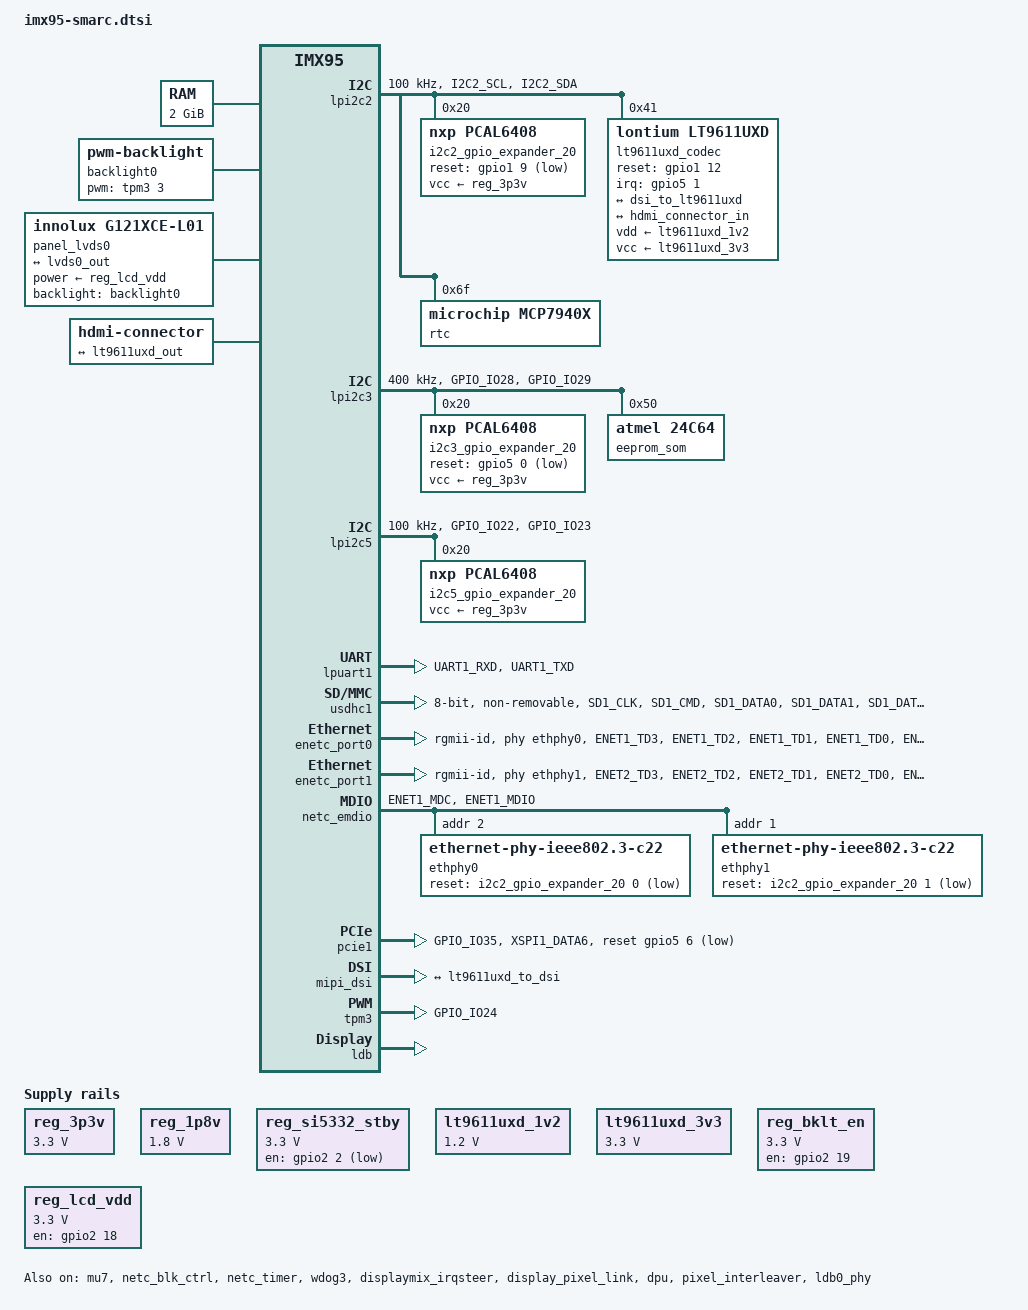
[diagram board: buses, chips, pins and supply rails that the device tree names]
// SPDX-License-Identifier: (GPL-2.0+ OR MIT)
/*
 * Copyright 2026 IEI
 *
 * Common DTSI for IEI i.MX95 SMARC SOM
 */

#include <dt-bindings/pwm/pwm.h>
#include <dt-bindings/phy/phy-imx8-pcie.h>
#include <dt-bindings/usb/pd.h>
#include "imx95.dtsi"

#define FALLING_EDGE		BIT(0)
#define RISING_EDGE		BIT(1)

#define BRD_SM_CTRL_SD3_WAKE		0x8000	/*!< PCAL6408A-0 */
#define BRD_SM_CTRL_PCIE1_WAKE		0x8001	/*!< PCAL6408A-4 */
#define BRD_SM_CTRL_BT_WAKE		0x8002	/*!< PCAL6408A-5 */
#define BRD_SM_CTRL_PCIE2_WAKE		0x8003	/*!< PCAL6408A-6 */
#define BRD_SM_CTRL_BUTTON		0x8004	/*!< PCAL6408A-7 */

/ {
	aliases {
		ethernet0 = &enetc_port0;
		ethernet1 = &enetc_port1;
		mmc0 = &usdhc1;
		serial0 = &lpuart1;
	};

	memory@80000000 {
		device_type = "memory";
		reg = <0x0 0x80000000 0 0x80000000>;
	};

	reserved-memory {
		#address-cells = <2>;
		#size-cells = <2>;
		ranges;

		linux_cma: linux,cma {
			compatible = "shared-dma-pool";
			alloc-ranges = <0 0x80000000 0 0x7f000000>;
			size = <0 0x3c000000>;
			linux,cma-default;
			reusable;
		};

		vpu_boot: vpu_boot@a0000000 {
			reg = <0 0xa0000000 0 0x100000>;
			no-map;
		};

		ele_reserved: ele-reserved@a4120000 {
			compatible = "shared-dma-pool";
			reg = <0 0xa4120000 0 0x100000>;
			no-map;
		};

		vdev0vring0: vdev0vring0@88000000 {
			reg = <0 0x88000000 0 0x8000>;
			no-map;
		};

		vdev0vring1: vdev0vring1@88008000 {
			reg = <0 0x88008000 0 0x8000>;
			no-map;
		};

		vdev1vring0: vdev1vring0@88010000 {
			reg = <0 0x88010000 0 0x8000>;
			no-map;
		};

		vdev1vring1: vdev1vring1@88018000 {
			reg = <0 0x88018000 0 0x8000>;
			no-map;
		};

		rsc_table: rsc-table@88220000 {
			reg = <0 0x88220000 0 0x1000>;
			no-map;
		};

		vdevbuffer: vdevbuffer@88020000 {
			compatible = "shared-dma-pool";
			reg = <0 0x88020000 0 0x100000>;
			no-map;
		};

		neutron_mem: neutron_memory@100000000 {
			compatible = "shared-dma-pool";
			reusable;
			reg = <0x1 0x00000000 0x1 0x00000000>;
		};
	};

	reg_3p3v: regulator-3p3v {
		compatible = "regulator-fixed";
		regulator-max-microvolt = <3300000>;
		regulator-min-microvolt = <3300000>;
		regulator-name = "+V3.3_SW";
	};

	reg_1p8v: regulator-1p8v {
		compatible = "regulator-fixed";
		regulator-max-microvolt = <1800000>;
		regulator-min-microvolt = <1800000>;
		regulator-name = "+V1.8_SW";
	};

	reg_si5332_stby: regulator-si5332-stby {
		compatible = "regulator-fixed";
		regulator-name = "si5332-stby";
		regulator-min-microvolt = <3300000>;
		regulator-max-microvolt = <3300000>;
		gpio = <&gpio2 2 GPIO_ACTIVE_LOW>;
		regulator-always-on;
		pinctrl-names = "default";
		pinctrl-0 = <&pinctrl_si5332>;
	};

	cm7: imx95-cm7 {
		compatible = "fsl,imx95-cm7";
		mbox-names = "tx", "rx", "rxdb";
		mboxes = <&mu7 0 1
			  &mu7 1 1
			  &mu7 3 1>;
		memory-region = <&vdevbuffer>, <&vdev0vring0>, <&vdev0vring1>,
				<&vdev1vring0>, <&vdev1vring1>, <&rsc_table>;
		/* cpuid and lmmid must align with SM firmware */
		fsl,cpu-id = <1>;
		fsl,lmm-id = <1>;
		fsl,startup-delay-ms = <50>;
		status = "okay";
	};

	lt9611uxd_1v2: regulator-lt9611uxd-1v2 {
		compatible = "regulator-fixed";
		regulator-name = "lt9611uxd_1v2";
		regulator-min-microvolt = <1200000>;
		regulator-max-microvolt = <1200000>;
		regulator-always-on;
	};

	lt9611uxd_3v3: regulator-lt9611uxd-3v3 {
		compatible = "regulator-fixed";
		regulator-name = "lt9611uxd_3v3";
		regulator-min-microvolt = <3300000>;
		regulator-max-microvolt = <3300000>;
		regulator-always-on;
	};

	reg_bklt_en: regulator-bklt-en {
		compatible = "regulator-fixed";
		regulator-name = "BKLT_EN";
		regulator-min-microvolt = <3300000>;
		regulator-max-microvolt = <3300000>;
		gpio = <&gpio2 19 GPIO_ACTIVE_HIGH>;
		enable-active-high;
		regulator-always-on;
		pinctrl-names = "default";
		pinctrl-0 = <&pinctrl_lcd_bklt_en>;
	};

	backlight0: backlight-0 {
		compatible = "pwm-backlight";
		pwms = <&tpm3 3 5000000 0>;
		brightness-levels = <0 4 8 16 32 64 128 255>;
		default-brightness-level = <6>;
	};

	reg_lcd_vdd: regulator-lcd-vdd {
		compatible = "regulator-fixed";
		regulator-name = "LCD_VDD";
		regulator-min-microvolt = <3300000>;
		regulator-max-microvolt = <3300000>;
		gpio = <&gpio2 18 GPIO_ACTIVE_HIGH>;
		enable-active-high;
		regulator-always-on;
		pinctrl-names = "default";
		pinctrl-0 = <&pinctrl_lcd_vdd_en>;
	};

	panel_lvds0: panel-lvds0 {
		compatible = "innolux,g121xce-l01";
		backlight = <&backlight0>;
		power-supply = <&reg_lcd_vdd>;

		port {
			panel_lvds0_in: endpoint {
				remote-endpoint = <&lvds0_out>;
			};
		};
	};

	hdmi-connector {
		compatible = "hdmi-connector";
		label = "hdmi";
		type = "a";

		port {
			hdmi_connector_in: endpoint {
				remote-endpoint = <&lt9611uxd_out>;
			};
		};
	};
};

&lpi2c2 {
	clock-frequency = <100000>;
	pinctrl-names = "default";
	pinctrl-0 = <&pinctrl_lpi2c2>;
	status = "okay";

	i2c2_gpio_expander_20: i2c2-gpio-expander@20 {
		compatible = "nxp,pcal6408";
		reg = <0x20>;
		#gpio-cells = <2>;
		gpio-controller;
		vcc-supply = <&reg_3p3v>;
		reset-gpios = <&gpio1 9 GPIO_ACTIVE_LOW>;
		pinctrl-names = "default";
		pinctrl-0 = <&pinctrl_i2c2_pcal6408>;
	};

	lt9611uxd_codec: hdmi-bridge@41 {
		compatible = "lontium,lt9611uxd";
		reg = <0x41>;
		interrupts-extended = <&gpio5 1 IRQ_TYPE_EDGE_FALLING>;
		reset-gpios = <&gpio1 12 GPIO_ACTIVE_HIGH>;
		vdd-supply = <&lt9611uxd_1v2>;
		vcc-supply = <&lt9611uxd_3v3>;

		pinctrl-names = "default";
		pinctrl-0 = <&pinctrl_lt9611uxd>;

		ports {
			#address-cells = <1>;
			#size-cells = <0>;

			port@0 {
				reg = <0>;

				lt9611uxd_to_dsi: endpoint {
					remote-endpoint = <&dsi_to_lt9611uxd>;
					data-lanes = <1 2 3 4>;
				};
			};

			port@2 {
				reg = <2>;

				lt9611uxd_out: endpoint {
					remote-endpoint = <&hdmi_connector_in>;
				};
			};
		};
	};

	rtc@6f {
		compatible = "microchip,mcp7940x";
		reg = <0x6f>;
	};
};

&lpi2c3 {
	clock-frequency = <400000>;
	pinctrl-names = "default";
	pinctrl-0 = <&pinctrl_lpi2c3>;
	status = "okay";

	i2c3_gpio_expander_20: i2c3-gpio-expander@20 {
		compatible = "nxp,pcal6408";
		reg = <0x20>;
		#gpio-cells = <2>;
		gpio-controller;
		vcc-supply = <&reg_3p3v>;
		pinctrl-names = "default";
		pinctrl-0 = <&pinctrl_i2c3_pcal6408>;
		reset-gpios = <&gpio5 0 GPIO_ACTIVE_LOW>;
	};

	eeprom_som: eeprom@50 {
		compatible = "atmel,24c64";
		reg = <0x50>;
		pagesize = <32>;
		read-only;
		status = "okay";
	};
};

&lpi2c5 {
	clock-frequency = <100000>;
	pinctrl-names = "default";
	pinctrl-0 = <&pinctrl_lpi2c5>;
	status = "okay";

	i2c5_gpio_expander_20: i2c5-gpio-expander@20 {
		compatible = "nxp,pcal6408";
		reg = <0x20>;
		#gpio-cells = <2>;
		gpio-controller;
		vcc-supply = <&reg_3p3v>;
	};
};

&lpuart1 {
	/* A55 Debug Console */
	pinctrl-names = "default";
	pinctrl-0 = <&pinctrl_uart1>;
	status = "okay";
};

&mu7 {
	status = "okay";
};

&usdhc1 {
	pinctrl-names = "default", "state_100mhz", "state_200mhz", "sleep";
	pinctrl-0 = <&pinctrl_usdhc1>;
	pinctrl-1 = <&pinctrl_usdhc1_100mhz>;
	pinctrl-2 = <&pinctrl_usdhc1_200mhz>;
	pinctrl-3 = <&pinctrl_usdhc1>;
	bus-width = <8>;
	non-removable;
	no-sdio;
	no-sd;
	status = "okay";
};

&enetc_port0 {
	pinctrl-names = "default";
	pinctrl-0 = <&pinctrl_enetc0>;
	phy-handle = <&ethphy0>;
	phy-mode = "rgmii-id";
	status = "okay";
};

&enetc_port1 {
	pinctrl-names = "default";
	pinctrl-0 = <&pinctrl_enetc1>;
	phy-handle = <&ethphy1>;
	phy-mode = "rgmii-id";
	status = "okay";
};

&ele_if0 {
	memory-region = <&ele_reserved>;
};

&netc_blk_ctrl {
	status = "okay";
};

&netc_timer {
	status = "okay";
};

&netc_emdio {
	pinctrl-names = "default";
	pinctrl-0 = <&pinctrl_emdio>;
	status = "okay";

	ethphy0: ethernet-phy@2 {
		reg = <2>;
		compatible = "ethernet-phy-ieee802.3-c22";
		eee-broken-1000t;
		reset-gpios = <&i2c2_gpio_expander_20 0 GPIO_ACTIVE_LOW>;
		reset-assert-us = <35000>;
		reset-deassert-us = <75000>;
		rx-internal-delay-ps = <1900>;
	};

	ethphy1: ethernet-phy@1 {
		reg = <1>;
		compatible = "ethernet-phy-ieee802.3-c22";
		eee-broken-1000t;
		reset-gpios = <&i2c2_gpio_expander_20 1 GPIO_ACTIVE_LOW>;
		reset-assert-us = <35000>;
		reset-deassert-us = <75000>;
		rx-internal-delay-ps = <1900>;
	};
};

&neutron {
	memory-region = <&neutron_mem>;
};

&pcie1 {
	pinctrl-0 = <&pinctrl_pcie1>;
	pinctrl-names = "default";
	reset-gpio = <&gpio5 6 GPIO_ACTIVE_LOW>;
	status = "okay";
};

&scmi_misc {
	nxp,ctrl-ids = <BRD_SM_CTRL_SD3_WAKE		1
			BRD_SM_CTRL_PCIE1_WAKE		1
			BRD_SM_CTRL_BT_WAKE		1
			BRD_SM_CTRL_PCIE2_WAKE		1
			BRD_SM_CTRL_BUTTON		1>;
};

&wdog3 {
	fsl,ext-reset-output;
	status = "okay";
};

&vpuctrl {
	boot = <&vpu_boot>;
	sram = <&sram1>;
};

&thermal_zones {
	pf09 {
		polling-delay-passive = <250>;
		polling-delay = <2000>;
		thermal-sensors = <&scmi_sensor 2>;
		trips {
			pf09_alert: trip0 {
				temperature = <140000>;
				hysteresis = <2000>;
				type = "passive";
			};

			pf09_crit: trip1 {
				temperature = <155000>;
				hysteresis = <2000>;
				type = "critical";
			};
		};
	};

	pf53_arm {
		polling-delay-passive = <250>;
		polling-delay = <2000>;
		thermal-sensors = <&scmi_sensor 4>;
		trips {
			pf5301_alert: trip0 {
				temperature = <140000>;
				hysteresis = <2000>;
				type = "passive";
			};

			pf5301_crit: trip1 {
				temperature = <155000>;
				hysteresis = <2000>;
				type = "critical";
			};
		};

		cooling-maps {
			map0 {
				trip = <&pf5301_alert>;
				cooling-device =
					<&A55_0 THERMAL_NO_LIMIT THERMAL_NO_LIMIT>,
					<&A55_1 THERMAL_NO_LIMIT THERMAL_NO_LIMIT>,
					<&A55_2 THERMAL_NO_LIMIT THERMAL_NO_LIMIT>,
					<&A55_3 THERMAL_NO_LIMIT THERMAL_NO_LIMIT>,
					<&A55_4 THERMAL_NO_LIMIT THERMAL_NO_LIMIT>,
					<&A55_5 THERMAL_NO_LIMIT THERMAL_NO_LIMIT>;
			};
		};
	};

	pf53_soc {
		polling-delay-passive = <250>;
		polling-delay = <2000>;
		thermal-sensors = <&scmi_sensor 3>;
		trips {
			pf5302_alert: trip0 {
				temperature = <140000>;
				hysteresis = <2000>;
				type = "passive";
			};

			pf5302_crit: trip1 {
				temperature = <155000>;
				hysteresis = <2000>;
				type = "critical";
			};
		};
	};
};

&gpio1 {
	status = "okay";
};

&displaymix_irqsteer {
	status = "okay";
};

&display_pixel_link {
	status = "okay";
};

&dpu {
	assigned-clocks = <&scmi_clk IMX95_CLK_DISP1PIX>,
			  <&scmi_clk IMX95_CLK_VIDEOPLL1_VCO>,
			  <&scmi_clk IMX95_CLK_VIDEOPLL1>;
	assigned-clock-parents = <&scmi_clk IMX95_CLK_VIDEOPLL1>;
	assigned-clock-rates = <0>, <4008000000>, <445333334>;
	status = "okay";
};

&mipi_dsi {
	status = "okay";

	ports {
		#address-cells = <1>;
		#size-cells = <0>;

		port@1 {
			reg = <1>;
			dsi_to_lt9611uxd: endpoint {
				remote-endpoint = <&lt9611uxd_to_dsi>;
			};
		};
	};
};

&pixel_interleaver {
	#address-cells = <1>;
	#size-cells = <0>;
	status = "okay";

	channel@0 {
		reg = <0>;
		status = "okay";
	};

	channel@1 {
		reg = <1>;
		status = "okay";
	};
};

&tpm3 {
	pinctrl-names = "default";
	pinctrl-0 = <&pinctrl_lcd_bklt_pwm>;
	status = "okay";
};

&ldb {
	#address-cells = <1>;
	#size-cells = <0>;
	assigned-clocks = <&scmi_clk IMX95_CLK_LDBPLL_VCO>,
			  <&scmi_clk IMX95_CLK_LDBPLL>;
	assigned-clock-rates = <2730000000>, <455000000>;
	status = "okay";

	channel@0 {
		#address-cells = <1>;
		#size-cells = <0>;
		reg = <0>;
		status = "okay";

		port@1 {
			reg = <1>;

			lvds0_out: endpoint {
				remote-endpoint = <&panel_lvds0_in>;
			};
		};
	};
};

&ldb0_phy {
	status = "okay";
};

&scmi_iomuxc {
	pinctrl_lpi2c2: lpi2c2grp {
		fsl,pins = <
			IMX95_PAD_I2C2_SCL__AONMIX_TOP_LPI2C2_SCL	0x40000b9e
			IMX95_PAD_I2C2_SDA__AONMIX_TOP_LPI2C2_SDA	0x40000b9e
		>;
	};

	pinctrl_lpi2c3: lpi2c3grp {
		fsl,pins = <
			IMX95_PAD_GPIO_IO28__LPI2C3_SDA			0x40000b9e
			IMX95_PAD_GPIO_IO29__LPI2C3_SCL			0x40000b9e
		>;
	};

	pinctrl_lpi2c5: lpi2c5grp {
		fsl,pins = <
			IMX95_PAD_GPIO_IO22__LPI2C5_SDA			0x40000b9e
			IMX95_PAD_GPIO_IO23__LPI2C5_SCL			0x40000b9e
		>;
	};

	pinctrl_emdio: emdiogrp{
		fsl,pins = <
			IMX95_PAD_ENET1_MDC__NETCMIX_TOP_NETC_MDC		0x50e
			IMX95_PAD_ENET1_MDIO__NETCMIX_TOP_NETC_MDIO		0x90e
		>;
	};

	pinctrl_enetc0: enetc0grp {
		fsl,pins = <
			IMX95_PAD_ENET1_TD3__NETCMIX_TOP_ETH0_RGMII_TD3		0x50e
			IMX95_PAD_ENET1_TD2__NETCMIX_TOP_ETH0_RGMII_TD2		0x50e
			IMX95_PAD_ENET1_TD1__NETCMIX_TOP_ETH0_RGMII_TD1		0x50e
			IMX95_PAD_ENET1_TD0__NETCMIX_TOP_ETH0_RGMII_TD0		0x50e
			IMX95_PAD_ENET1_TX_CTL__NETCMIX_TOP_ETH0_RGMII_TX_CTL	0x57e
			IMX95_PAD_ENET1_TXC__NETCMIX_TOP_ETH0_RGMII_TX_CLK	0x58e
			IMX95_PAD_ENET1_RX_CTL__NETCMIX_TOP_ETH0_RGMII_RX_CTL	0x57e
			IMX95_PAD_ENET1_RXC__NETCMIX_TOP_ETH0_RGMII_RX_CLK	0x58e
			IMX95_PAD_ENET1_RD0__NETCMIX_TOP_ETH0_RGMII_RD0		0x57e
			IMX95_PAD_ENET1_RD1__NETCMIX_TOP_ETH0_RGMII_RD1		0x57e
			IMX95_PAD_ENET1_RD2__NETCMIX_TOP_ETH0_RGMII_RD2		0x57e
			IMX95_PAD_ENET1_RD3__NETCMIX_TOP_ETH0_RGMII_RD3		0x57e
		>;
	};

	pinctrl_enetc1: enetc1grp {
		fsl,pins = <
			IMX95_PAD_ENET2_TD3__NETCMIX_TOP_ETH1_RGMII_TD3		0x50e
			IMX95_PAD_ENET2_TD2__NETCMIX_TOP_ETH1_RGMII_TD2		0x50e
			IMX95_PAD_ENET2_TD1__NETCMIX_TOP_ETH1_RGMII_TD1		0x50e
			IMX95_PAD_ENET2_TD0__NETCMIX_TOP_ETH1_RGMII_TD0		0x50e
			IMX95_PAD_ENET2_TX_CTL__NETCMIX_TOP_ETH1_RGMII_TX_CTL	0x57e
			IMX95_PAD_ENET2_TXC__NETCMIX_TOP_ETH1_RGMII_TX_CLK	0x58e
			IMX95_PAD_ENET2_RX_CTL__NETCMIX_TOP_ETH1_RGMII_RX_CTL	0x57e
			IMX95_PAD_ENET2_RXC__NETCMIX_TOP_ETH1_RGMII_RX_CLK	0x58e
			IMX95_PAD_ENET2_RD0__NETCMIX_TOP_ETH1_RGMII_RD0		0x57e
			IMX95_PAD_ENET2_RD1__NETCMIX_TOP_ETH1_RGMII_RD1		0x57e
			IMX95_PAD_ENET2_RD2__NETCMIX_TOP_ETH1_RGMII_RD2		0x57e
			IMX95_PAD_ENET2_RD3__NETCMIX_TOP_ETH1_RGMII_RD3		0x57e
		>;
	};

	pinctrl_uart1: uart1grp {
		fsl,pins = <
			IMX95_PAD_UART1_RXD__AONMIX_TOP_LPUART1_RX      0x31e
			IMX95_PAD_UART1_TXD__AONMIX_TOP_LPUART1_TX      0x31e
		>;
	};

	pinctrl_usdhc1: usdhc1grp {
		fsl,pins = <
			IMX95_PAD_SD1_CLK__USDHC1_CLK			0x158e
			IMX95_PAD_SD1_CMD__USDHC1_CMD			0x138e
			IMX95_PAD_SD1_DATA0__USDHC1_DATA0		0x138e
			IMX95_PAD_SD1_DATA1__USDHC1_DATA1		0x138e
			IMX95_PAD_SD1_DATA2__USDHC1_DATA2		0x138e
			IMX95_PAD_SD1_DATA3__USDHC1_DATA3		0x138e
			IMX95_PAD_SD1_DATA4__USDHC1_DATA4		0x138e
			IMX95_PAD_SD1_DATA5__USDHC1_DATA5		0x138e
			IMX95_PAD_SD1_DATA6__USDHC1_DATA6		0x138e
			IMX95_PAD_SD1_DATA7__USDHC1_DATA7		0x138e
			IMX95_PAD_SD1_STROBE__USDHC1_STROBE		0x158e
		>;
	};

	pinctrl_usdhc1_100mhz: usdhc1-100mhzgrp {
		fsl,pins = <
			IMX95_PAD_SD1_CLK__USDHC1_CLK			0x158e
			IMX95_PAD_SD1_CMD__USDHC1_CMD			0x138e
			IMX95_PAD_SD1_DATA0__USDHC1_DATA0		0x138e
			IMX95_PAD_SD1_DATA1__USDHC1_DATA1		0x138e
			IMX95_PAD_SD1_DATA2__USDHC1_DATA2		0x138e
			IMX95_PAD_SD1_DATA3__USDHC1_DATA3		0x138e
			IMX95_PAD_SD1_DATA4__USDHC1_DATA4		0x138e
			IMX95_PAD_SD1_DATA5__USDHC1_DATA5		0x138e
			IMX95_PAD_SD1_DATA6__USDHC1_DATA6		0x138e
			IMX95_PAD_SD1_DATA7__USDHC1_DATA7		0x138e
			IMX95_PAD_SD1_STROBE__USDHC1_STROBE		0x158e
		>;
	};

	pinctrl_usdhc1_200mhz: usdhc1-200mhzgrp {
		fsl,pins = <
			IMX95_PAD_SD1_CLK__USDHC1_CLK			0x15fe
			IMX95_PAD_SD1_CMD__USDHC1_CMD			0x13fe
			IMX95_PAD_SD1_DATA0__USDHC1_DATA0		0x13fe
			IMX95_PAD_SD1_DATA1__USDHC1_DATA1		0x13fe
			IMX95_PAD_SD1_DATA2__USDHC1_DATA2		0x13fe
			IMX95_PAD_SD1_DATA3__USDHC1_DATA3		0x13fe
			IMX95_PAD_SD1_DATA4__USDHC1_DATA4		0x13fe
			IMX95_PAD_SD1_DATA5__USDHC1_DATA5		0x13fe
			IMX95_PAD_SD1_DATA6__USDHC1_DATA6		0x13fe
			IMX95_PAD_SD1_DATA7__USDHC1_DATA7		0x13fe
			IMX95_PAD_SD1_STROBE__USDHC1_STROBE		0x15fe
		>;
	};

	pinctrl_i2c2_pcal6408: i2c2pcal6408grp {
		fsl,pins = <
			IMX95_PAD_PDM_BIT_STREAM0__AONMIX_TOP_GPIO1_IO_BIT9		0x31e
			IMX95_PAD_PDM_BIT_STREAM1__AONMIX_TOP_GPIO1_IO_BIT10		0x31e
		>;
	};

	pinctrl_i2c3_pcal6408: i2c3pcal6408grp {
		fsl,pins = <
			IMX95_PAD_XSPI1_DATA0__GPIO5_IO_BIT0		0x31e
		>;
	};

	pinctrl_pcie1: pcie1grp {
		fsl,pins = <
			IMX95_PAD_GPIO_IO35__HSIOMIX_TOP_PCIE2_CLKREQ_B		0x4000031e
			IMX95_PAD_XSPI1_DATA6__GPIO5_IO_BIT6			0x31e
		>;
	};

	pinctrl_lt9611uxd: lt9611uxdgrp {
		fsl,pins = <
			IMX95_PAD_SAI1_TXC__AONMIX_TOP_GPIO1_IO_BIT12		0x31e
			IMX95_PAD_XSPI1_DATA1__GPIO5_IO_BIT1			0x31e
		>;
	};

	pinctrl_si5332: si5332grp {
		fsl,pins = <
			IMX95_PAD_GPIO_IO02__GPIO2_IO_BIT2		0x31e
		>;
	};

	pinctrl_lcd_bklt_pwm: lcdbkltpwmgrp {
		fsl,pins = <
			IMX95_PAD_GPIO_IO24__TPM3_CH3			0x51e
		>;
	};

	pinctrl_lcd_bklt_en: lcdbkltengrp {
		fsl,pins = <
			IMX95_PAD_GPIO_IO19__GPIO2_IO_BIT19		0x31e
		>;
	};

	pinctrl_lcd_vdd_en: lcdvddengrp {
		fsl,pins = <
			IMX95_PAD_GPIO_IO18__GPIO2_IO_BIT18		0x31e
		>;
	};
};
